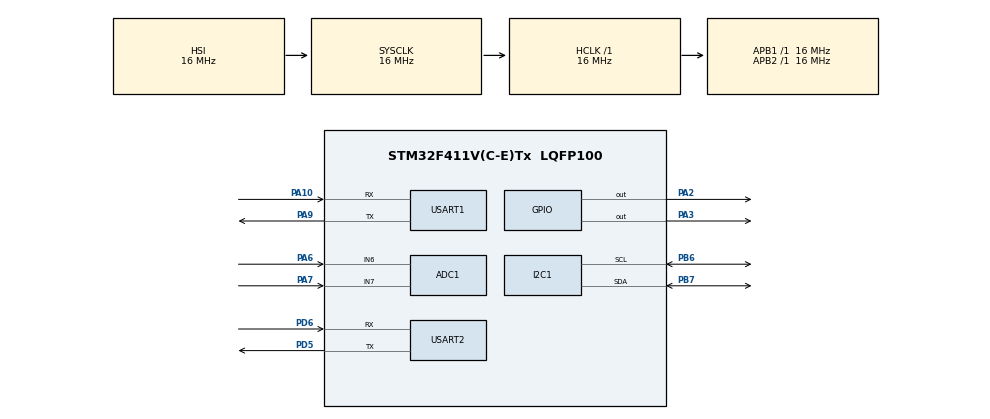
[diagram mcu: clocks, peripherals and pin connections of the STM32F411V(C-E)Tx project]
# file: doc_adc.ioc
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ADC1.Channel-1\#ChannelRegularConversion=ADC_CHANNEL_6
ADC1.NbrOfConversionFlag=1
ADC1.Rank-1\#ChannelRegularConversion=1
ADC1.SamplingTime-1\#ChannelRegularConversion=ADC_SAMPLETIME_3CYCLES
ADC1.master=1
Mcu.Family=STM32F4
Mcu.Name=STM32F411V(C-E)Tx
Mcu.Package=LQFP100
NVIC.PriorityGroup=NVIC_PRIORITYGROUP_4
PA10.Mode=Asynchronous
PA10.Signal=USART1_RX
PA2.Signal=GPIO_Output
PA3.Signal=GPIO_Output
PA6.Signal=ADCx_IN6
PA7.Signal=ADCx_IN7
PA9.Mode=Asynchronous
PA9.Signal=USART1_TX
PB6.Mode=I2C
PB6.Signal=I2C1_SCL
PB7.Mode=I2C
PB7.Signal=I2C1_SDA
PD5.Mode=Asynchronous
PD5.Signal=USART2_TX
PD6.Mode=Asynchronous
PD6.Signal=USART2_RX
ProjectManager.HeapSize=0x200
ProjectManager.StackSize=0x400
ProjectManager.TargetToolchain=STM32CubeIDE
RCC.AHBFreq_Value=16000000
RCC.APB1Freq_Value=16000000
RCC.APB2Freq_Value=16000000
RCC.CortexFreq_Value=16000000
RCC.HSE_VALUE=25000000
RCC.HSI_VALUE=16000000
RCC.LSE_VALUE=32768
RCC.SYSCLKFreq_VALUE=16000000
RCC.VCOOutputFreq_Value=192000000
SH.ADCx_IN6.0=ADC1_IN6,IN6
SH.ADCx_IN7.0=ADC1_IN7,IN7
USART1.VirtualMode=VM_ASYNC
USART2.VirtualMode=VM_ASYNC
board=custom

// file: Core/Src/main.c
/* USER CODE BEGIN Header */
/**
  ******************************************************************************
  * @file           : main.c
  * @brief          : Main program body
  ******************************************************************************
  * @attention
  *
  * Copyright (c) 2026 STMicroelectronics.
  * All rights reserved.
  *
  * This software is licensed under terms that can be found in the LICENSE file
  * in the root directory of this software component.
  * If no LICENSE file comes with this software, it is provided AS-IS.
  *
  ******************************************************************************
  */
/* USER CODE END Header */
#include "main.h"

/* USER CODE BEGIN Includes */
#include "printf.h"
#include "i2c-lcd.h"
#include "stdio.h"
/* USER CODE END Includes */

/* USER CODE BEGIN PTD */
#define ADC_MAX     4095.0f
#define VDDA        3.3f    // nếu bạn đã đo VDDA thì thay bằng biến

/* USER CODE END PTD */

ADC_HandleTypeDef hadc1;

I2C_HandleTypeDef hi2c1;

UART_HandleTypeDef huart1;
UART_HandleTypeDef huart2;

void SystemClock_Config(void);
static void MX_GPIO_Init(void);
static void MX_USART1_UART_Init(void);
static void MX_USART2_UART_Init(void);
static void MX_I2C1_Init(void);
static void MX_ADC1_Init(void);
/* USER CODE BEGIN PFP */
#define CHARGE_PORT GPIOA
#define CHARGE_PIN  GPIO_PIN_3   // bật/tắt sạc
#define MODE_PORT   GPIOA
#define MODE_PIN    GPIO_PIN_2   // chọn CC/CV (tuỳ mạch)
/* USER CODE END PFP */

/* USER CODE BEGIN 0 */
uint16_t ADC_ReadChannelRaw(ADC_HandleTypeDef *hadc, uint32_t channel)
{
    ADC_ChannelConfTypeDef sConfig = {0};

    sConfig.Channel      = channel;
    sConfig.Rank         = 1;
    sConfig.SamplingTime = ADC_SAMPLETIME_144CYCLES;

    HAL_ADC_ConfigChannel(hadc, &sConfig);

    HAL_ADC_Start(hadc);
    HAL_ADC_PollForConversion(hadc, 10);
    uint16_t raw = HAL_ADC_GetValue(hadc);
    HAL_ADC_Stop(hadc);

    return raw;
}
extern ADC_HandleTypeDef hadc1;
extern UART_HandleTypeDef huart2;
//uint16_t ADC_Read_PA0(void)
//{
//  ADC_ChannelConfTypeDef sConfig = {0};
//
//  sConfig.Channel      = ADC_CHANNEL_0;          // PA0
//  sConfig.Rank         = 1;
//  sConfig.SamplingTime = ADC_SAMPLETIME_144CYCLES;
//
//  HAL_ADC_ConfigChannel(&hadc1, &sConfig);
//
//  HAL_ADC_Start(&hadc1);
//  HAL_ADC_PollForConversion(&hadc1, 10);
//  uint16_t raw = (uint16_t)HAL_ADC_GetValue(&hadc1);
//  HAL_ADC_Stop(&hadc1);
//
//  return raw; // 0..4095
//}
float ADC_Raw_to_mV(uint16_t raw)
{
  return raw * 3300 / (4095*1.0); // giả sử VDDA=3.3V
}

uint16_t ADC_Read_PA0(void)
{
  ADC_ChannelConfTypeDef sConfig = {0};

  sConfig.Channel      = ADC_CHANNEL_6;          // PA0
  sConfig.Rank         = 1;
  sConfig.SamplingTime = ADC_SAMPLETIME_144CYCLES;

  HAL_ADC_ConfigChannel(&hadc1, &sConfig);

  HAL_ADC_Start(&hadc1);
  HAL_ADC_PollForConversion(&hadc1, 10);
  uint16_t raw = (uint16_t)HAL_ADC_GetValue(&hadc1);
  HAL_ADC_Stop(&hadc1);

  return raw; // 0..4095
}

uint16_t ADC_Read_PA1(void)
{
  ADC_ChannelConfTypeDef sConfig = {0};

  sConfig.Channel      = ADC_CHANNEL_7;          // PA0
  sConfig.Rank         = 1;
  sConfig.SamplingTime = ADC_SAMPLETIME_144CYCLES;

  HAL_ADC_ConfigChannel(&hadc1, &sConfig);

  HAL_ADC_Start(&hadc1);
  HAL_ADC_PollForConversion(&hadc1, 10);
  uint16_t raw = (uint16_t)HAL_ADC_GetValue(&hadc1);
  HAL_ADC_Stop(&hadc1);

  return raw; // 0..4095
}

//#define ADC_MAX        4095.0f
#define VREFINT_TYP   1.21f   // datasheet STM32F411

float ADC_GetVDDA(void)
{
    ADC_ChannelConfTypeDef sConfig = {0};

    sConfig.Channel      = ADC_CHANNEL_VREFINT;
    sConfig.Rank         = 1;
    sConfig.SamplingTime = ADC_SAMPLETIME_480CYCLES; // bắt buộc dài

    HAL_ADC_ConfigChannel(&hadc1, &sConfig);

    HAL_ADC_Start(&hadc1);
    HAL_ADC_PollForConversion(&hadc1, 10);
    uint16_t vref_raw = HAL_ADC_GetValue(&hadc1);
    HAL_ADC_Stop(&hadc1);

    if (vref_raw == 0) return 0;

    return VREFINT_TYP * ADC_MAX / vref_raw;
}
float ADC_RawToVolt(uint16_t raw)
{
    float vdda = ADC_GetVDDA();
    return raw * vdda / ADC_MAX;
}
/* USER CODE END 0 */

int main(void)
{

  /* MCU Configuration--------------------------------------------------------*/

  /* Reset of all peripherals, Initializes the Flash interface and the Systick. */
  HAL_Init();

  /* Configure the system clock */
  SystemClock_Config();

  /* Initialize all configured peripherals */
  MX_GPIO_Init();
  MX_USART1_UART_Init();
  MX_USART2_UART_Init();
  MX_I2C1_Init();
  MX_ADC1_Init();
  /* USER CODE BEGIN 2 */
  uint32_t raw1=0;
uint32_t raw2=0;
float mv1  = 0.0;
 float mv2  = 0.0;
 float Voltage=0.0;
 float Current=0.0;
 lcd_init();
 lcd_clear();
 lcd_put_cur(0, 0);
 lcd_send_string("Set up");
 HAL_GPIO_WritePin(GPIOA, GPIO_PIN_2, GPIO_PIN_RESET);
		      HAL_GPIO_WritePin(GPIOA, GPIO_PIN_3, GPIO_PIN_SET);
		      HAL_Delay(5000);
  /* USER CODE END 2 */

  /* Infinite loop */
  while (1)
  {

    /* USER CODE BEGIN 3 */
	  HAL_GPIO_WritePin(GPIOA, GPIO_PIN_2, GPIO_PIN_RESET);
	  		      HAL_GPIO_WritePin(GPIOA, GPIO_PIN_3, GPIO_PIN_SET);
		      raw1=0;
		      raw2=0;
		      raw1 = ADC_Read_PA0();
		      raw2 = ADC_Read_PA1();
		     		    mv1  = ADC_RawToVolt(raw1);
		     		    mv2  = ADC_RawToVolt(raw2);
		     		    myPrintf(&huart2, "PA0 raw=%u  V=%f V\r\n", raw1, mv1);
		     		    HAL_Delay(500);
		     		    myPrintf(&huart2, "PA1 raw=%u  V=%f V\r\n", raw2, mv2);
		     		   HAL_Delay(500);
		     		   Voltage=mv2-mv1/1.5;
					   Current=mv1/(1.5*2.4);
					   myPrintf(&huart2, "Vol=%.2f V  Curr=%.2f A\r\n", Voltage, Current);
					   char mode[20];
					   	char parameter[20];
					   	sprintf(mode, "setup mode");

					   	sprintf(parameter, "V=%.2f V  A=%.2f A", Voltage,Current);

					   	lcd_put_cur(0,0);
					   	lcd_send_string("                "); // 16 spaces
					   	lcd_put_cur(0,0);
					   	lcd_send_string(parameter);

					   	lcd_put_cur(1,0);
					   	lcd_send_string("                ");
					   	lcd_put_cur(1,0);
					   	lcd_send_string(mode);
					   HAL_Delay(500);
		     		   while (Voltage <= 2.2f && Voltage >= 1.5) {
		     			  HAL_GPIO_WritePin(GPIOA, GPIO_PIN_2, GPIO_PIN_RESET);
		     			  HAL_GPIO_WritePin(GPIOA, GPIO_PIN_3, GPIO_PIN_SET);
		     			 raw1=0;
		     			 myPrintf(&huart2," CC mode\n");
		     			HAL_Delay(500);
		     					      raw2=0;
		     					      raw1 = ADC_Read_PA0();// do dien ap in
		     					      raw2 = ADC_Read_PA1();// do dien ap rsunt
		     					     		    mv1  = ADC_RawToVolt(raw1);
		     					     		    mv2  = ADC_RawToVolt(raw2);
		     					     		    myPrintf(&huart2, "PA0 raw=%u  V=%f V\r\n", raw1, mv1);
		     					     		    HAL_Delay(500);
		     					     		    myPrintf(&huart2, "PA1 raw=%u  V=%f V\r\n", raw2, mv2);
		     					     		   HAL_Delay(500);
		     					     		 Voltage=mv2-mv1/1.5;
		     								   Current=mv1/(1.5*2.4);
		     								   myPrintf(&huart2, "Vol=%.2f V  Curr=%.2f A\r\n", Voltage, Current);
		     								  char mode[20];
		     								 					   	char parameter[20];
		     								 					   	sprintf(mode, "CC mode");

		     								 					   	sprintf(parameter, "V=%.2f V  A=%.2f A", Voltage,Current);

		     								 					   	lcd_put_cur(0,0);
		     								 					   	lcd_send_string("                "); // 16 spaces
		     								 					   	lcd_put_cur(0,0);
		     								 					   	lcd_send_string(parameter);
		     								 		lcd_put_cur(1,0);
		     								 		lcd_send_string("                ");
		     								  	lcd_put_cur(1,0);
		     								   	lcd_send_string(mode);
		     								   HAL_Delay(500);
		     								  if (Voltage > 2.20f) {
		     									 HAL_GPIO_WritePin(GPIOA, GPIO_PIN_2, GPIO_PIN_SET);
		     								        myPrintf(&huart2,">> Switch to CC mode");
		     								        break;
		     								      }
		     		   }
		     		  while (Voltage > 2.1f) {
		     			 HAL_GPIO_WritePin(GPIOA, GPIO_PIN_2, GPIO_PIN_SET);
		     			HAL_GPIO_WritePin(GPIOA, GPIO_PIN_3, GPIO_PIN_SET);
		     			 myPrintf(&huart2," CV mode\n");

		     		   HAL_Delay(500);
		     		   raw1=0;
		     		   		     					      raw2=0;
		     		   		     					      raw1 = ADC_Read_PA0();
		     		   		     					      raw2 = ADC_Read_PA1();
		     		   		     					       mv1  = ADC_RawToVolt(raw1);
		     		   		     					      mv2  = ADC_RawToVolt(raw2);
		     		   		     					      myPrintf(&huart2, "PA0 raw=%u  V=%f V\r\n", raw1, mv1);
		     		   		     					     HAL_Delay(500);
		     		   		     					      myPrintf(&huart2, "PA1 raw=%u  V=%f V\r\n", raw2, mv2);
		     		   		     					      char mode[20];
		     		   		     					     	char parameter[20];
		     		   		     					      	sprintf(mode, "CV mode");
		     		   		     					      	sprintf(parameter, "V=%.2f V  A=%.2f A", Voltage,Current);
		     		   		     					     	 lcd_put_cur(0,0);
		     		   		     							 lcd_send_string("                "); // 16 spaces
		     		   		     					       	lcd_put_cur(0,0);
		     		   		     					    	lcd_send_string(parameter);
		     		   		     					     	 lcd_put_cur(1,0);
		     		   		     					     	lcd_send_string("                ");
		     		   		     					    lcd_put_cur(1,0);
		     		   		     					   	lcd_send_string(mode);
		     		   		     					    HAL_Delay(500);
		     		   		     					     		Voltage=mv2-mv1/1.5;
		     		   		     								   Current=mv1/(1.5*2.4);
		     		   		     								   myPrintf(&huart2, "Vol=%.2f V  Curr=%.2f A\r\n", Voltage, Current);
		     		   		     								   HAL_Delay(500);
		     		    if (Current < 0.05f) { // ngắt khi < 50mA (ví dụ)
		     		    	HAL_GPIO_WritePin(GPIOA, GPIO_PIN_2, GPIO_PIN_RESET);
		     		    	HAL_GPIO_WritePin(GPIOA, GPIO_PIN_3, GPIO_PIN_RESET);
		     		      myPrintf(&huart2, "!! Charge Complete. Charger OFF.");
		     		      while (1) {    HAL_Delay(500); }
		     		    }
		     		  }
  }
  /* USER CODE END 3 */
}

void SystemClock_Config(void)
{
  RCC_OscInitTypeDef RCC_OscInitStruct = {0};
  RCC_ClkInitTypeDef RCC_ClkInitStruct = {0};

  /** Configure the main internal regulator output voltage
  */
  __HAL_RCC_PWR_CLK_ENABLE();
  __HAL_PWR_VOLTAGESCALING_CONFIG(PWR_REGULATOR_VOLTAGE_SCALE1);

  /** Initializes the RCC Oscillators according to the specified parameters
  * in the RCC_OscInitTypeDef structure.
  */
  RCC_OscInitStruct.OscillatorType = RCC_OSCILLATORTYPE_HSI;
  RCC_OscInitStruct.HSIState = RCC_HSI_ON;
  RCC_OscInitStruct.HSICalibrationValue = RCC_HSICALIBRATION_DEFAULT;
  RCC_OscInitStruct.PLL.PLLState = RCC_PLL_NONE;
  if (HAL_RCC_OscConfig(&RCC_OscInitStruct) != HAL_OK)
  {
    Error_Handler();
  }

  /** Initializes the CPU, AHB and APB buses clocks
  */
  RCC_ClkInitStruct.ClockType = RCC_CLOCKTYPE_HCLK|RCC_CLOCKTYPE_SYSCLK
                              |RCC_CLOCKTYPE_PCLK1|RCC_CLOCKTYPE_PCLK2;
  RCC_ClkInitStruct.SYSCLKSource = RCC_SYSCLKSOURCE_HSI;
  RCC_ClkInitStruct.AHBCLKDivider = RCC_SYSCLK_DIV1;
  RCC_ClkInitStruct.APB1CLKDivider = RCC_HCLK_DIV1;
  RCC_ClkInitStruct.APB2CLKDivider = RCC_HCLK_DIV1;

  if (HAL_RCC_ClockConfig(&RCC_ClkInitStruct, FLASH_LATENCY_0) != HAL_OK)
  {
    Error_Handler();
  }
}

static void MX_ADC1_Init(void)
{

  ADC_ChannelConfTypeDef sConfig = {0};

  /** Configure the global features of the ADC (Clock, Resolution, Data Alignment and number of conversion)
  */
  hadc1.Instance = ADC1;
  hadc1.Init.ClockPrescaler = ADC_CLOCK_SYNC_PCLK_DIV2;
  hadc1.Init.Resolution = ADC_RESOLUTION_12B;
  hadc1.Init.ScanConvMode = DISABLE;
  hadc1.Init.ContinuousConvMode = DISABLE;
  hadc1.Init.DiscontinuousConvMode = DISABLE;
  hadc1.Init.ExternalTrigConvEdge = ADC_EXTERNALTRIGCONVEDGE_NONE;
  hadc1.Init.ExternalTrigConv = ADC_SOFTWARE_START;
  hadc1.Init.DataAlign = ADC_DATAALIGN_RIGHT;
  hadc1.Init.NbrOfConversion = 1;
  hadc1.Init.DMAContinuousRequests = DISABLE;
  hadc1.Init.EOCSelection = ADC_EOC_SINGLE_CONV;
  if (HAL_ADC_Init(&hadc1) != HAL_OK)
  {
    Error_Handler();
  }

  /** Configure for the selected ADC regular channel its corresponding rank in the sequencer and its sample time.
  */
  sConfig.Channel = ADC_CHANNEL_6;
  sConfig.Rank = 1;
  sConfig.SamplingTime = ADC_SAMPLETIME_3CYCLES;
  if (HAL_ADC_ConfigChannel(&hadc1, &sConfig) != HAL_OK)
  {
    Error_Handler();
  }

}

static void MX_I2C1_Init(void)
{

  hi2c1.Instance = I2C1;
  hi2c1.Init.ClockSpeed = 100000;
  hi2c1.Init.DutyCycle = I2C_DUTYCYCLE_2;
  hi2c1.Init.OwnAddress1 = 0;
  hi2c1.Init.AddressingMode = I2C_ADDRESSINGMODE_7BIT;
  hi2c1.Init.DualAddressMode = I2C_DUALADDRESS_DISABLE;
  hi2c1.Init.OwnAddress2 = 0;
  hi2c1.Init.GeneralCallMode = I2C_GENERALCALL_DISABLE;
  hi2c1.Init.NoStretchMode = I2C_NOSTRETCH_DISABLE;
  if (HAL_I2C_Init(&hi2c1) != HAL_OK)
  {
    Error_Handler();
  }

}

static void MX_USART1_UART_Init(void)
{

  huart1.Instance = USART1;
  huart1.Init.BaudRate = 115200;
  huart1.Init.WordLength = UART_WORDLENGTH_8B;
  huart1.Init.StopBits = UART_STOPBITS_1;
  huart1.Init.Parity = UART_PARITY_NONE;
  huart1.Init.Mode = UART_MODE_TX_RX;
  huart1.Init.HwFlowCtl = UART_HWCONTROL_NONE;
  huart1.Init.OverSampling = UART_OVERSAMPLING_16;
  if (HAL_UART_Init(&huart1) != HAL_OK)
  {
    Error_Handler();
  }

}

static void MX_USART2_UART_Init(void)
{

  huart2.Instance = USART2;
  huart2.Init.BaudRate = 115200;
  huart2.Init.WordLength = UART_WORDLENGTH_8B;
  huart2.Init.StopBits = UART_STOPBITS_1;
  huart2.Init.Parity = UART_PARITY_NONE;
  huart2.Init.Mode = UART_MODE_TX_RX;
  huart2.Init.HwFlowCtl = UART_HWCONTROL_NONE;
  huart2.Init.OverSampling = UART_OVERSAMPLING_16;
  if (HAL_UART_Init(&huart2) != HAL_OK)
  {
    Error_Handler();
  }

}

static void MX_GPIO_Init(void)
{
  GPIO_InitTypeDef GPIO_InitStruct = {0};

  /* GPIO Ports Clock Enable */
  __HAL_RCC_GPIOA_CLK_ENABLE();
  __HAL_RCC_GPIOD_CLK_ENABLE();
  __HAL_RCC_GPIOB_CLK_ENABLE();

  /*Configure GPIO pin Output Level */
  HAL_GPIO_WritePin(GPIOA, GPIO_PIN_2|GPIO_PIN_3, GPIO_PIN_RESET);

  /*Configure GPIO pins : PA2 PA3 */
  GPIO_InitStruct.Pin = GPIO_PIN_2|GPIO_PIN_3;
  GPIO_InitStruct.Mode = GPIO_MODE_OUTPUT_PP;
  GPIO_InitStruct.Pull = GPIO_NOPULL;
  GPIO_InitStruct.Speed = GPIO_SPEED_FREQ_LOW;
  HAL_GPIO_Init(GPIOA, &GPIO_InitStruct);

}

void Error_Handler(void)
{
  __disable_irq();
  while (1)
  {
  }
}
